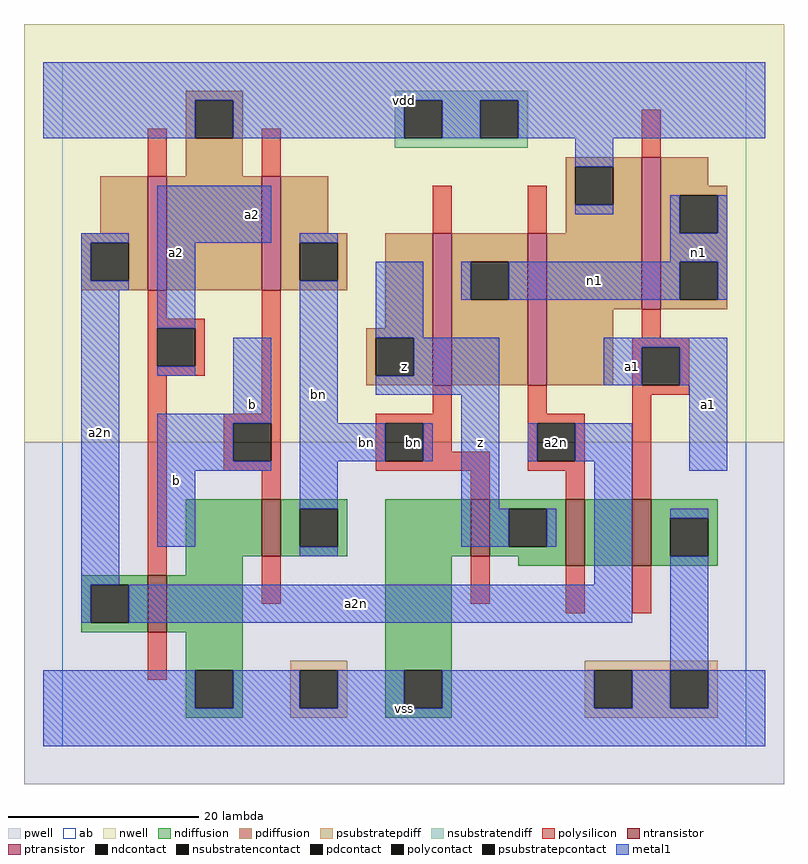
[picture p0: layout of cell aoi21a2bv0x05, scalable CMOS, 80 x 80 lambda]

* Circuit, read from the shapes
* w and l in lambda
.subckt aoi21a2bv0x05 a1 a2 a2n b bn n1 vdd vss z
M1 vss a2 a2n vss nfet w=6 l=2
M2 bn b vss vss nfet w=6 l=2
M3 z bn vss vss nfet w=6 l=2
M4 n2 a2n z vss nfet w=7 l=2
M5 vss a1 n2 vss nfet w=7 l=2
M6 vdd a2 a2n vdd pfet w=12 l=2
M7 bn b vdd vdd pfet w=12 l=2
M8 n1 bn z vdd pfet w=16 l=2
M9 vdd a2n n1 vdd pfet w=16 l=2
M10 n1 a1 vdd vdd pfet w=16 l=2
.ends

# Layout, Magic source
magic
tech scmos
<< ab >>
rect 0 0 72 72
<< pwell >>
rect -4 -4 76 32
<< nwell >>
rect -4 32 76 76
<< polysilicon >>
rect 9 60 11 65
rect 21 60 23 65
rect 61 62 63 67
rect 39 54 41 59
rect 49 54 51 59
rect 9 45 11 48
rect 9 44 15 45
rect 9 40 10 44
rect 14 40 15 44
rect 9 39 15 40
rect 9 18 11 39
rect 21 35 23 48
rect 61 43 63 46
rect 60 42 66 43
rect 60 38 61 42
rect 65 38 66 42
rect 39 35 41 38
rect 17 34 23 35
rect 17 30 18 34
rect 22 30 23 34
rect 17 29 23 30
rect 33 34 41 35
rect 33 30 34 34
rect 38 31 41 34
rect 49 35 51 38
rect 60 37 66 38
rect 49 34 55 35
rect 38 30 45 31
rect 33 29 45 30
rect 49 30 50 34
rect 54 30 55 34
rect 49 29 55 30
rect 21 26 23 29
rect 43 26 45 29
rect 53 26 55 29
rect 60 26 62 37
rect 21 15 23 20
rect 9 7 11 12
rect 43 15 45 20
rect 53 14 55 19
rect 60 14 62 19
<< ndiffusion >>
rect 13 20 21 26
rect 23 25 30 26
rect 23 21 25 25
rect 29 21 30 25
rect 23 20 30 21
rect 34 20 43 26
rect 45 25 53 26
rect 45 21 47 25
rect 51 21 53 25
rect 45 20 53 21
rect 13 18 19 20
rect 2 17 9 18
rect 2 13 3 17
rect 7 13 9 17
rect 2 12 9 13
rect 11 12 19 18
rect 13 8 19 12
rect 13 4 14 8
rect 18 4 19 8
rect 13 3 19 4
rect 34 8 41 20
rect 48 19 53 20
rect 55 19 60 26
rect 62 24 69 26
rect 62 20 64 24
rect 68 20 69 24
rect 62 19 69 20
rect 34 4 36 8
rect 40 4 41 8
rect 34 3 41 4
<< pdiffusion >>
rect 13 68 19 69
rect 13 64 14 68
rect 18 64 19 68
rect 13 60 19 64
rect 53 61 61 62
rect 4 54 9 60
rect 2 53 9 54
rect 2 49 3 53
rect 7 49 9 53
rect 2 48 9 49
rect 11 48 21 60
rect 23 54 28 60
rect 53 57 54 61
rect 58 57 61 61
rect 53 54 61 57
rect 23 53 30 54
rect 23 49 25 53
rect 29 49 30 53
rect 23 48 30 49
rect 34 44 39 54
rect 32 43 39 44
rect 32 39 33 43
rect 37 39 39 43
rect 32 38 39 39
rect 41 51 49 54
rect 41 47 43 51
rect 47 47 49 51
rect 41 38 49 47
rect 51 46 61 54
rect 63 59 68 62
rect 63 58 70 59
rect 63 54 65 58
rect 69 54 70 58
rect 63 51 70 54
rect 63 47 65 51
rect 69 47 70 51
rect 63 46 70 47
rect 51 38 58 46
<< metal1 >>
rect -2 68 74 72
rect -2 64 14 68
rect 18 64 36 68
rect 40 64 44 68
rect 48 64 74 68
rect 54 61 58 64
rect 2 53 7 54
rect 2 49 3 53
rect 2 48 7 49
rect 10 53 22 59
rect 54 56 58 57
rect 64 54 65 58
rect 69 54 70 58
rect 25 53 29 54
rect 2 17 6 48
rect 10 44 14 53
rect 64 51 70 54
rect 10 39 14 40
rect 18 35 22 43
rect 10 34 22 35
rect 10 30 18 34
rect 10 29 22 30
rect 25 34 29 49
rect 33 43 38 51
rect 42 47 43 51
rect 47 47 65 51
rect 69 47 70 51
rect 37 39 46 43
rect 33 37 46 39
rect 57 42 70 43
rect 57 38 61 42
rect 65 38 70 42
rect 25 30 34 34
rect 38 30 39 34
rect 10 21 14 29
rect 25 25 29 30
rect 42 25 46 37
rect 49 30 50 34
rect 54 30 60 34
rect 42 21 47 25
rect 51 21 52 25
rect 25 20 29 21
rect 56 17 60 30
rect 66 29 70 38
rect 2 13 3 17
rect 7 13 60 17
rect 64 24 68 25
rect 64 8 68 20
rect -2 4 14 8
rect 18 4 25 8
rect 29 4 36 8
rect 40 4 56 8
rect 60 4 64 8
rect 68 4 74 8
rect -2 0 74 4
<< ntransistor >>
rect 21 20 23 26
rect 43 20 45 26
rect 9 12 11 18
rect 53 19 55 26
rect 60 19 62 26
<< ptransistor >>
rect 9 48 11 60
rect 21 48 23 60
rect 39 38 41 54
rect 49 38 51 54
rect 61 46 63 62
<< polycontact >>
rect 10 40 14 44
rect 61 38 65 42
rect 18 30 22 34
rect 34 30 38 34
rect 50 30 54 34
<< ndcontact >>
rect 25 21 29 25
rect 47 21 51 25
rect 3 13 7 17
rect 14 4 18 8
rect 64 20 68 24
rect 36 4 40 8
<< pdcontact >>
rect 14 64 18 68
rect 3 49 7 53
rect 54 57 58 61
rect 25 49 29 53
rect 33 39 37 43
rect 43 47 47 51
rect 65 54 69 58
rect 65 47 69 51
<< psubstratepcontact >>
rect 25 4 29 8
rect 56 4 60 8
rect 64 4 68 8
<< nsubstratencontact >>
rect 36 64 40 68
rect 44 64 48 68
<< psubstratepdiff >>
rect 24 8 30 9
rect 24 4 25 8
rect 29 4 30 8
rect 24 3 30 4
rect 55 8 69 9
rect 55 4 56 8
rect 60 4 64 8
rect 68 4 69 8
rect 55 3 69 4
<< nsubstratendiff >>
rect 35 68 49 69
rect 35 64 36 68
rect 40 64 44 68
rect 48 64 49 68
rect 35 63 49 64
<< labels >>
rlabel polycontact 37 32 37 32 6 bn
rlabel polycontact 52 32 52 32 6 a2n
rlabel metal1 12 28 12 28 6 b
rlabel metal1 4 33 4 33 6 a2n
rlabel metal1 12 52 12 52 6 a2
rlabel metal1 27 37 27 37 6 bn
rlabel metal1 20 36 20 36 6 b
rlabel metal1 20 56 20 56 6 a2
rlabel metal1 36 4 36 4 6 vss
rlabel metal1 32 32 32 32 6 bn
rlabel metal1 44 32 44 32 6 z
rlabel pdcontact 36 40 36 40 6 z
rlabel metal1 36 68 36 68 6 vdd
rlabel metal1 31 15 31 15 6 a2n
rlabel metal1 54 32 54 32 6 a2n
rlabel metal1 60 40 60 40 6 a1
rlabel metal1 68 36 68 36 6 a1
rlabel metal1 56 49 56 49 6 n1
rlabel metal1 67 52 67 52 6 n1
<< end >>
